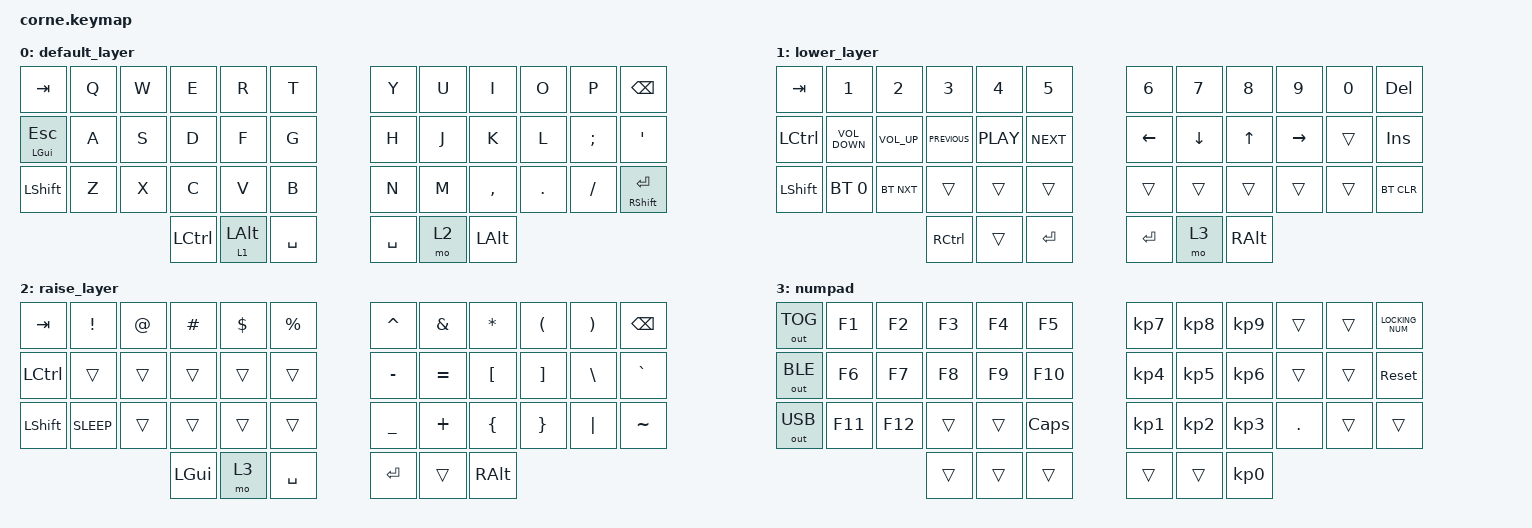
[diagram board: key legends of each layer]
/*
 * Copyright (c) 2020 The ZMK Contributors
 *
 * SPDX-License-Identifier: MIT
 */

#include <behaviors.dtsi>
#include <dt-bindings/zmk/bt.h>
#include <dt-bindings/zmk/keys.h>
#include <dt-bindings/zmk/outputs.h>

/ {
    combos {
        compatible = "zmk,combos";

        ene {
            bindings = <&kp N>;
            key-positions = <30 37 21>;
            timeout-ms = <30>;
            layers = <0>;
        };
    };

    keymap {
        compatible = "zmk,keymap";

        default_layer {
            // -----------------------------------------------------------------------------------------
            // |  TAB |  Q  |  W  |  E  |  R  |  T  |   |  Y  |  U   |  I  |  O  |  P  | BSPC |
            // | CTRL |  A  |  S  |  D  |  F  |  G  |   |  H  |  J   |  K  |  L  |  ;  |  '   |
            // | SHFT |  Z  |  X  |  C  |  V  |  B  |   |  N  |  M   |  ,  |  .  |  /  | ESC  |
            //                    | GUI | LWR | SPC |   | ENT | RSE  | ALT |

            bindings = <
&kp TAB           &kp Q  &kp W  &kp E             &kp R           &kp T        &kp Y      &kp U  &kp I         &kp O    &kp P     &kp BSPC
&mt LEFT_GUI ESC  &kp A  &kp S  &kp D             &kp F           &kp G        &kp H      &kp J  &kp K         &kp L    &kp SEMI  &kp SQT
&kp LSHFT         &kp Z  &kp X  &kp C             &kp V           &kp B        &kp N      &kp M  &kp COMMA     &kp DOT  &kp FSLH  &mt RIGHT_SHIFT ENTER
                                &kp LEFT_CONTROL  &lt 1 LEFT_ALT  &kp SPACE    &kp SPACE  &mo 2  &kp LEFT_ALT
            >;
        };

        lower_layer {
            // -----------------------------------------------------------------------------------------
            // |  TAB |  1  |  2  |  3  |  4  |  5  |   |  6  |  7  |  8  |  9  |  0  | BSPC |
            // | BTCLR| BT1 | BT2 | BT3 | BT4 | BT5 |   | LFT | DWN |  UP | RGT |     |      |
            // | SHFT |     |     |     |     |     |   |     |     |     |     |     |      |
            //                    | GUI |     | SPC |   | ENT |     | ALT |

            bindings = <
&kp TAB           &kp N1             &kp N2           &kp N3             &kp N4      &kp N5        &kp N6    &kp N7    &kp N8    &kp N9     &kp N0  &kp DEL
&kp LEFT_CONTROL  &kp K_VOLUME_DOWN  &kp C_VOLUME_UP  &kp K_PREVIOUS     &kp C_PLAY  &kp C_NEXT    &kp LEFT  &kp DOWN  &kp UP    &kp RIGHT  &trans  &kp INS
&kp LSHFT         &bt BT_SEL 0       &bt BT_NXT       &trans             &trans      &trans        &trans    &trans    &trans    &trans     &trans  &bt BT_CLR
                                                      &kp RIGHT_CONTROL  &trans      &kp ENTER     &kp RET   &mo 3     &kp RALT
            >;
        };

        raise_layer {
            // -----------------------------------------------------------------------------------------
            // |  TAB |  !  |  @  |  #  |  $  |  %  |   |  ^  |  &  |  *  |  (  |  )  | BSPC |
            // | CTRL |     |     |     |     |     |   |  -  |  =  |  [  |  ]  |  \  |  `   |
            // | SHFT |     |     |     |     |     |   |  _  |  +  |  {  |  }  | "|" |  ~   |
            //                    | GUI |     | SPC |   | ENT |     | ALT |

            bindings = <
&kp TAB    &kp EXCL     &kp AT  &kp HASH  &kp DLLR  &kp PRCNT    &kp CARET  &kp AMPS   &kp ASTRK  &kp LPAR  &kp RPAR  &kp BSPC
&kp LCTRL  &trans       &trans  &trans    &trans    &trans       &kp MINUS  &kp EQUAL  &kp LBKT   &kp RBKT  &kp BSLH  &kp GRAVE
&kp LSHFT  &kp K_SLEEP  &trans  &trans    &trans    &trans       &kp UNDER  &kp PLUS   &kp LBRC   &kp RBRC  &kp PIPE  &kp TILDE
                                &kp LGUI  &mo 3     &kp SPACE    &kp RET    &trans     &kp RALT
            >;
        };

        numpad {
            bindings = <
&out OUT_TOG  &kp F1   &kp F2   &kp F3  &kp F4  &kp F5      &kp KP_NUMBER_7  &kp KP_NUMBER_8  &kp KP_NUMBER_9  &trans      &trans  &kp LOCKING_NUM
&out OUT_BLE  &kp F6   &kp F7   &kp F8  &kp F9  &kp F10     &kp KP_NUMBER_4  &kp KP_NUMBER_5  &kp KP_NUMBER_6  &trans      &trans  &sys_reset
&out OUT_USB  &kp F11  &kp F12  &trans  &trans  &kp CAPS    &kp KP_NUMBER_1  &kp KP_NUMBER_2  &kp KP_NUMBER_3  &kp PERIOD  &trans  &trans
                                &trans  &trans  &trans      &trans           &trans           &kp KP_NUMBER_0
            >;
        };
    };
};
